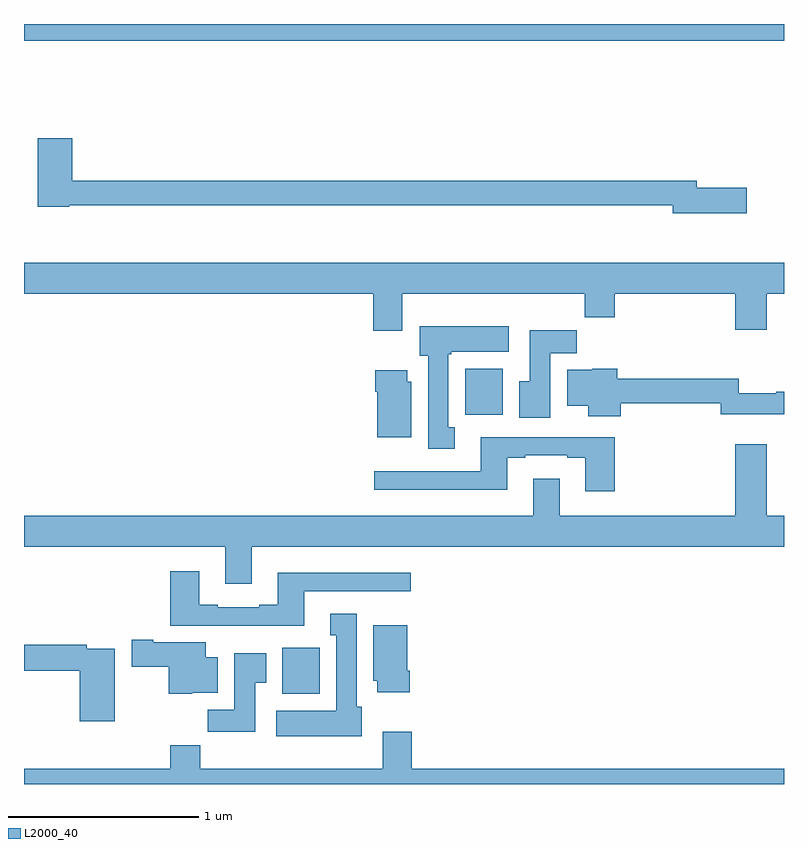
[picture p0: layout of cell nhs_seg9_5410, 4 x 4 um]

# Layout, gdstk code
import gdstk
lib = gdstk.Library(unit=1e-6, precision=1e-09)
def R(c, l, rs):  # rectangles x0, y0, x1, y1
    for r in rs: c.add(gdstk.rectangle(r[:2], r[2:], *l))
def P(c, l, *ps):  # polygons
    for p in ps: c.add(gdstk.Polygon(p, *l))
L2000_40 = (2000, 40)

nhs_seg9_5410 = lib.new_cell('nhs_seg9_5410')
R(nhs_seg9_5410, L2000_40, [(426.359,1200.974,426.556,1201.216), (427.322,1202.444,427.519,1202.686), (425,1204.412,429,1204.5)])
P(nhs_seg9_5410, L2000_40, [(428.803,1203.638),(428.542,1203.638),(428.542,1203.674),(425.255,1203.674),(425.255,1203.898),(425.072,1203.898),(425.072,1203.538),(425.238,1203.538),(425.238,1203.546),(428.414,1203.546),(428.414,1203.503),(428.803,1203.503)],
  [(426.991,1203.08),(427.951,1203.08),(427.951,1202.956),(428.108,1202.956),(428.108,1203.08),(428.744,1203.08),(428.744,1202.892),(428.908,1202.892),(428.908,1203.08),(429,1203.08),(429,1203.244),(425,1203.244),(425,1203.08),(426.839,1203.08),(426.839,1202.886),(426.991,1202.886)],
  [(427.267,1202.378),(427.234,1202.378),(427.234,1202.761),(427.248,1202.761),(427.248,1202.774),(427.552,1202.774),(427.552,1202.908),(427.082,1202.908),(427.082,1202.754),(427.127,1202.754),(427.127,1202.265),(427.267,1202.265)],
  [(427.771,1202.768),(427.91,1202.768),(427.91,1202.887),(427.661,1202.887),(427.661,1202.62),(427.607,1202.62),(427.607,1202.427),(427.771,1202.427)],
  [(428.141,1202.503),(428.667,1202.503),(428.667,1202.447),(429,1202.447),(429,1202.564),(428.96,1202.564),(428.96,1202.557),(428.763,1202.557),(428.763,1202.632),(428.123,1202.632),(428.123,1202.686),(427.992,1202.686),(427.992,1202.68),(427.859,1202.68),(427.859,1202.492),(427.97,1202.492),(427.97,1202.435),(428.141,1202.435)],
  [(427.039,1202.616),(427.018,1202.616),(427.018,1202.677),(426.848,1202.677),(426.848,1202.564),(426.86,1202.564),(426.86,1202.324),(427.039,1202.324)],
  [(428.108,1202.325),(427.403,1202.325),(427.403,1202.145),(426.843,1202.145),(426.843,1202.048),(427.543,1202.048),(427.543,1202.217),(427.639,1202.217),(427.639,1202.229),(427.859,1202.229),(427.859,1202.217),(427.955,1202.217),(427.955,1202.04),(428.108,1202.04)],
  [(426.199,1201.748),(429,1201.748),(429,1201.912),(428.908,1201.912),(428.908,1202.287),(428.744,1202.287),(428.744,1201.912),(427.819,1201.912),(427.819,1202.107),(427.679,1202.107),(427.679,1201.912),(425,1201.912),(425,1201.748),(426.059,1201.748),(426.059,1201.554),(426.199,1201.554)],
  [(426.475,1201.515),(427.036,1201.515),(427.036,1201.612),(426.335,1201.612),(426.335,1201.444),(426.239,1201.444),(426.239,1201.431),(426.019,1201.431),(426.019,1201.444),(425.923,1201.444),(425.923,1201.621),(425.771,1201.621),(425.771,1201.334),(426.475,1201.334)],
  [(426.778,1200.906),(426.751,1200.906),(426.751,1201.396),(426.611,1201.396),(426.611,1201.283),(426.644,1201.283),(426.644,1200.886),(426.327,1200.886),(426.327,1200.752),(426.778,1200.752)],
  [(427.031,1201.096),(427.018,1201.096),(427.018,1201.336),(426.839,1201.336),(426.839,1201.044),(426.86,1201.044),(426.86,1200.984),(427.031,1200.984)],
  [(425.886,1200.98),(426.019,1200.98),(426.019,1201.168),(425.956,1201.168),(425.956,1201.246),(425.68,1201.246),(425.68,1201.259),(425.568,1201.259),(425.568,1201.117),(425.761,1201.117),(425.761,1200.974),(425.886,1200.974)],
  [(425.477,1201.212),(425.33,1201.212),(425.33,1201.232),(425,1201.232),(425,1201.096),(425.294,1201.096),(425.294,1200.831),(425.477,1200.831)],
  [(426.217,1201.033),(426.274,1201.033),(426.274,1201.189),(426.107,1201.189),(426.107,1200.892),(425.968,1200.892),(425.968,1200.774),(426.217,1200.774)],
  [(429,1200.58),(427.04,1200.58),(427.04,1200.775),(426.887,1200.775),(426.887,1200.58),(425.927,1200.58),(425.927,1200.704),(425.771,1200.704),(425.771,1200.58),(425,1200.58),(425,1200.5),(429,1200.5)])

lib.write_gds('nhs_seg9_5410.gds')
